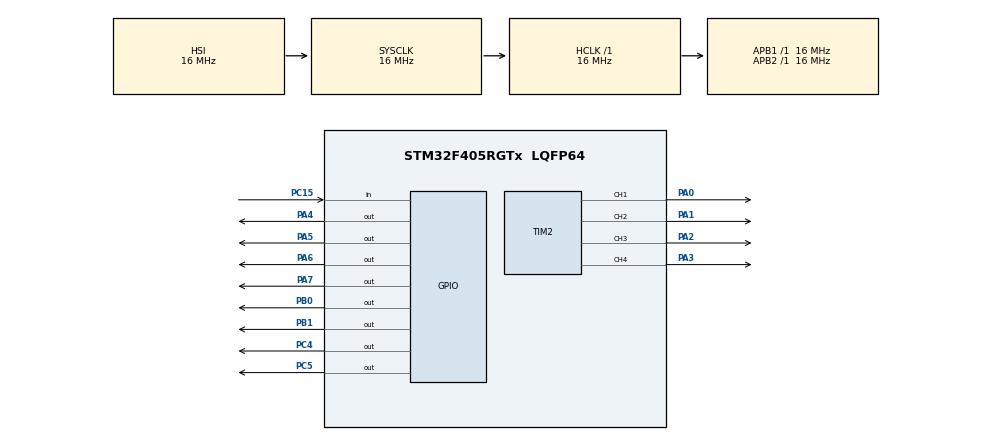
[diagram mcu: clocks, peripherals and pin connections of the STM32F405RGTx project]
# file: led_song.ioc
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Mcu.Family=STM32F4
Mcu.Name=STM32F405RGTx
Mcu.Package=LQFP64
NVIC.PriorityGroup=NVIC_PRIORITYGROUP_4
PA0-WKUP.Signal=S_TIM2_CH1_ETR
PA1.Signal=S_TIM2_CH2
PA2.Signal=S_TIM2_CH3
PA3.Signal=S_TIM2_CH4
PA4.Signal=GPIO_Output
PA5.Signal=GPIO_Output
PA6.Signal=GPIO_Output
PA7.Signal=GPIO_Output
PB0.Signal=GPIO_Output
PB1.Signal=GPIO_Output
PC15-OSC32_OUT.Signal=GPIO_Input
PC4.Signal=GPIO_Output
PC5.Signal=GPIO_Output
ProjectManager.HeapSize=0x200
ProjectManager.StackSize=0x400
ProjectManager.TargetToolchain=STM32CubeIDE
RCC.AHBFreq_Value=16000000
RCC.APB1Freq_Value=16000000
RCC.APB2Freq_Value=16000000
RCC.CortexFreq_Value=16000000
RCC.HSE_VALUE=25000000
RCC.HSI_VALUE=16000000
RCC.LSE_VALUE=32768
RCC.SYSCLKFreq_VALUE=16000000
RCC.VCOOutputFreq_Value=192000000
SH.S_TIM2_CH1_ETR.0=TIM2_CH1,PWM Generation1 CH1
SH.S_TIM2_CH2.0=TIM2_CH2,PWM Generation2 CH2
SH.S_TIM2_CH3.0=TIM2_CH3,PWM Generation3 CH3
SH.S_TIM2_CH4.0=TIM2_CH4,PWM Generation4 CH4
TIM2.Channel-PWM\ Generation1\ CH1=TIM_CHANNEL_1
TIM2.Channel-PWM\ Generation2\ CH2=TIM_CHANNEL_2
TIM2.Channel-PWM\ Generation3\ CH3=TIM_CHANNEL_3
TIM2.Channel-PWM\ Generation4\ CH4=TIM_CHANNEL_4
board=custom

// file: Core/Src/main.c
/* USER CODE BEGIN Header */
/**
  ******************************************************************************
  * @file           : main.c
  * @brief          : Code Final - Fix lỗi động cơ không quay + Nút bấm Pull-down
  ******************************************************************************
  */
/* USER CODE END Header */
#include "main.h"

/* USER CODE BEGIN PTD */
typedef struct {
    GPIO_TypeDef* Port;
    uint16_t Pin;
} Led_TypeDef;
/* USER CODE END PTD */

TIM_HandleTypeDef htim2;

/* USER CODE BEGIN PV */
Led_TypeDef leds[8] = {
    {GPIOA, GPIO_PIN_4}, {GPIOA, GPIO_PIN_5}, {GPIOA, GPIO_PIN_6}, {GPIOA, GPIO_PIN_7},
    {GPIOC, GPIO_PIN_4}, {GPIOC, GPIO_PIN_5}, {GPIOB, GPIO_PIN_0}, {GPIOB, GPIO_PIN_1}
};

int current_mode = 1;
uint8_t btn_prev = 0; // Logic Pull-down: Ban đầu mức 0

void Clear_All_Leds() {
    for(int i=0; i<8; i++) HAL_GPIO_WritePin(leds[i].Port, leds[i].Pin, GPIO_PIN_RESET);
}

// Logic nút bấm cho mạch Pull-down (Nhấn nối VCC)
int Check_Change_Mode(void) {
    uint8_t btn_now = HAL_GPIO_ReadPin(GPIOC, GPIO_PIN_15);

    // Phát hiện sườn lên (0 -> 1)
    if (btn_now == 1 && btn_prev == 0) {
        HAL_Delay(50); // Chống rung
        if (HAL_GPIO_ReadPin(GPIOC, GPIO_PIN_15) == 1) {
            current_mode++;
            if (current_mode > 3) current_mode = 1;

            // Reset trạng thái
            Clear_All_Leds();
            __HAL_TIM_SET_COMPARE(&htim2, TIM_CHANNEL_1, 0);
            __HAL_TIM_SET_COMPARE(&htim2, TIM_CHANNEL_2, 0);
            __HAL_TIM_SET_COMPARE(&htim2, TIM_CHANNEL_3, 0);
            __HAL_TIM_SET_COMPARE(&htim2, TIM_CHANNEL_4, 0);

            btn_prev = 1;
            return 1;
        }
    }
    if (btn_now == 0) btn_prev = 0;
    return 0;
}
/* USER CODE END PV */

void SystemClock_Config(void);
static void MX_GPIO_Init(void);
static void MX_TIM2_Init(void);

int main(void)
{

  /* MCU Configuration--------------------------------------------------------*/

  /* Reset of all peripherals, Initializes the Flash interface and the Systick. */
  HAL_Init();

  /* Configure the system clock */
  SystemClock_Config();

  /* Initialize all configured peripherals */
  MX_GPIO_Init();
  MX_TIM2_Init();
  /* USER CODE BEGIN 2 */

  // Bắt đầu PWM
  HAL_TIM_PWM_Start(&htim2, TIM_CHANNEL_1);
  HAL_TIM_PWM_Start(&htim2, TIM_CHANNEL_2);
  HAL_TIM_PWM_Start(&htim2, TIM_CHANNEL_3);
  HAL_TIM_PWM_Start(&htim2, TIM_CHANNEL_4);

  /* USER CODE END 2 */

  /* Infinite loop */
  while (1)
  {

    /* USER CODE BEGIN 3 */
      Check_Change_Mode();

      // --- MODE 1: LED LƯỢN SÓNG ---
      if (current_mode == 1) {
          for (int i = 0; i < 8; i++) {
              if(Check_Change_Mode()) break;
              HAL_GPIO_WritePin(leds[i].Port, leds[i].Pin, GPIO_PIN_SET);
              HAL_Delay(100);
              HAL_GPIO_WritePin(leds[i].Port, leds[i].Pin, GPIO_PIN_RESET);
          }
          for (int i = 6; i > 0; i--) {
              if(Check_Change_Mode()) break;
              HAL_GPIO_WritePin(leds[i].Port, leds[i].Pin, GPIO_PIN_SET);
              HAL_Delay(100);
              HAL_GPIO_WritePin(leds[i].Port, leds[i].Pin, GPIO_PIN_RESET);
          }
      }

      // --- MODE 2: LED NHÁY SO LE ---
      else if (current_mode == 2) {
          for(int i=0; i<8; i++) {
              if(i % 2 == 0) HAL_GPIO_WritePin(leds[i].Port, leds[i].Pin, GPIO_PIN_SET);
              else           HAL_GPIO_WritePin(leds[i].Port, leds[i].Pin, GPIO_PIN_RESET);
          }
          for(int d=0; d<50; d++) { HAL_Delay(10); if(Check_Change_Mode()) break; }

          if(current_mode != 2) continue;

          for(int i=0; i<8; i++) {
              if(i % 2 != 0) HAL_GPIO_WritePin(leds[i].Port, leds[i].Pin, GPIO_PIN_SET);
              else           HAL_GPIO_WritePin(leds[i].Port, leds[i].Pin, GPIO_PIN_RESET);
          }
          for(int d=0; d<50; d++) { HAL_Delay(10); if(Check_Change_Mode()) break; }
      }

      // --- MODE 3: ĐỘNG CƠ CHẠY THẲNG ---
      else if (current_mode == 3) {
          Clear_All_Leds();
          int speed = 800; // Duty Cycle ~80%

          // Động cơ 1: IN1 PWM, IN2 = 0 -> Quay thuận trái
          __HAL_TIM_SET_COMPARE(&htim2, TIM_CHANNEL_1, speed);
          __HAL_TIM_SET_COMPARE(&htim2, TIM_CHANNEL_2, 0);

          // Động cơ 2: IN3 PWM, IN4 = 0 -> Quay thuận
          __HAL_TIM_SET_COMPARE(&htim2, TIM_CHANNEL_3, 0);
          __HAL_TIM_SET_COMPARE(&htim2, TIM_CHANNEL_4, speed);

          HAL_Delay(100);
      }
    /* USER CODE END 3 */
  }
}

void SystemClock_Config(void)
{
  RCC_OscInitTypeDef RCC_OscInitStruct = {0};
  RCC_ClkInitTypeDef RCC_ClkInitStruct = {0};

  __HAL_RCC_PWR_CLK_ENABLE();
  __HAL_PWR_VOLTAGESCALING_CONFIG(PWR_REGULATOR_VOLTAGE_SCALE1);

  RCC_OscInitStruct.OscillatorType = RCC_OSCILLATORTYPE_HSI;
  RCC_OscInitStruct.HSIState = RCC_HSI_ON;
  RCC_OscInitStruct.HSICalibrationValue = RCC_HSICALIBRATION_DEFAULT;
  RCC_OscInitStruct.PLL.PLLState = RCC_PLL_NONE;
  if (HAL_RCC_OscConfig(&RCC_OscInitStruct) != HAL_OK)
  {
    Error_Handler();
  }

  RCC_ClkInitStruct.ClockType = RCC_CLOCKTYPE_HCLK|RCC_CLOCKTYPE_SYSCLK
                              |RCC_CLOCKTYPE_PCLK1|RCC_CLOCKTYPE_PCLK2;
  RCC_ClkInitStruct.SYSCLKSource = RCC_SYSCLKSOURCE_HSI;
  RCC_ClkInitStruct.AHBCLKDivider = RCC_SYSCLK_DIV1;
  RCC_ClkInitStruct.APB1CLKDivider = RCC_HCLK_DIV1;
  RCC_ClkInitStruct.APB2CLKDivider = RCC_HCLK_DIV1;

  if (HAL_RCC_ClockConfig(&RCC_ClkInitStruct, FLASH_LATENCY_0) != HAL_OK)
  {
    Error_Handler();
  }
}

static void MX_TIM2_Init(void)
{
  TIM_MasterConfigTypeDef sMasterConfig = {0};
  TIM_OC_InitTypeDef sConfigOC = {0};
  GPIO_InitTypeDef GPIO_InitStruct = {0}; // <--- Thêm khai báo GPIO

  htim2.Instance = TIM2;
  htim2.Init.Prescaler = 15;
  htim2.Init.CounterMode = TIM_COUNTERMODE_UP;
  htim2.Init.Period = 999;
  htim2.Init.ClockDivision = TIM_CLOCKDIVISION_DIV1;
  htim2.Init.AutoReloadPreload = TIM_AUTORELOAD_PRELOAD_ENABLE;
  if (HAL_TIM_PWM_Init(&htim2) != HAL_OK)
  {
    Error_Handler();
  }
  sMasterConfig.MasterOutputTrigger = TIM_TRGO_RESET;
  sMasterConfig.MasterSlaveMode = TIM_MASTERSLAVEMODE_DISABLE;
  if (HAL_TIMEx_MasterConfigSynchronization(&htim2, &sMasterConfig) != HAL_OK)
  {
    Error_Handler();
  }

  sConfigOC.OCMode = TIM_OCMODE_PWM1;
  sConfigOC.Pulse = 0;
  sConfigOC.OCPolarity = TIM_OCPOLARITY_HIGH;
  sConfigOC.OCFastMode = TIM_OCFAST_DISABLE;

  if (HAL_TIM_PWM_ConfigChannel(&htim2, &sConfigOC, TIM_CHANNEL_1) != HAL_OK) Error_Handler();
  if (HAL_TIM_PWM_ConfigChannel(&htim2, &sConfigOC, TIM_CHANNEL_2) != HAL_OK) Error_Handler();
  if (HAL_TIM_PWM_ConfigChannel(&htim2, &sConfigOC, TIM_CHANNEL_3) != HAL_OK) Error_Handler();
  if (HAL_TIM_PWM_ConfigChannel(&htim2, &sConfigOC, TIM_CHANNEL_4) != HAL_OK) Error_Handler();

  // --- [QUAN TRỌNG] CẤU HÌNH CHÂN PWM THỦ CÔNG TẠI ĐÂY ĐỂ TRÁNH LỖI MẤT KẾT NỐI ---
  __HAL_RCC_GPIOA_CLK_ENABLE();
  /**TIM2 GPIO Configuration
  PA0     ------> TIM2_CH1
  PA1     ------> TIM2_CH2
  PA2     ------> TIM2_CH3
  PA3     ------> TIM2_CH4
  */
  GPIO_InitStruct.Pin = GPIO_PIN_0|GPIO_PIN_1|GPIO_PIN_2|GPIO_PIN_3;
  GPIO_InitStruct.Mode = GPIO_MODE_AF_PP; // Chế độ Alternate Function
  GPIO_InitStruct.Pull = GPIO_NOPULL;
  GPIO_InitStruct.Speed = GPIO_SPEED_FREQ_LOW;
  GPIO_InitStruct.Alternate = GPIO_AF1_TIM2; // Gán chức năng Timer 2
  HAL_GPIO_Init(GPIOA, &GPIO_InitStruct);
  // --------------------------------------------------------------------------------
}

static void MX_GPIO_Init(void)
{
  GPIO_InitTypeDef GPIO_InitStruct = {0};

  __HAL_RCC_GPIOC_CLK_ENABLE();
  __HAL_RCC_GPIOA_CLK_ENABLE();
  __HAL_RCC_GPIOB_CLK_ENABLE();

  HAL_GPIO_WritePin(GPIOA, GPIO_PIN_4|GPIO_PIN_5|GPIO_PIN_6|GPIO_PIN_7, GPIO_PIN_RESET);
  HAL_GPIO_WritePin(GPIOC, GPIO_PIN_4|GPIO_PIN_5, GPIO_PIN_RESET);
  HAL_GPIO_WritePin(GPIOB, GPIO_PIN_0|GPIO_PIN_1, GPIO_PIN_RESET);

  // Nút bấm Pull-down
  GPIO_InitStruct.Pin = GPIO_PIN_15;
  GPIO_InitStruct.Mode = GPIO_MODE_INPUT;
  GPIO_InitStruct.Pull = GPIO_PULLDOWN;
  HAL_GPIO_Init(GPIOC, &GPIO_InitStruct);

  // Các chân LED
  GPIO_InitStruct.Pin = GPIO_PIN_4|GPIO_PIN_5|GPIO_PIN_6|GPIO_PIN_7;
  GPIO_InitStruct.Mode = GPIO_MODE_OUTPUT_PP;
  GPIO_InitStruct.Pull = GPIO_NOPULL;
  GPIO_InitStruct.Speed = GPIO_SPEED_FREQ_LOW;
  HAL_GPIO_Init(GPIOA, &GPIO_InitStruct);

  GPIO_InitStruct.Pin = GPIO_PIN_4|GPIO_PIN_5;
  GPIO_InitStruct.Mode = GPIO_MODE_OUTPUT_PP;
  GPIO_InitStruct.Pull = GPIO_NOPULL;
  GPIO_InitStruct.Speed = GPIO_SPEED_FREQ_LOW;
  HAL_GPIO_Init(GPIOC, &GPIO_InitStruct);

  GPIO_InitStruct.Pin = GPIO_PIN_0|GPIO_PIN_1;
  GPIO_InitStruct.Mode = GPIO_MODE_OUTPUT_PP;
  GPIO_InitStruct.Pull = GPIO_NOPULL;
  GPIO_InitStruct.Speed = GPIO_SPEED_FREQ_LOW;
  HAL_GPIO_Init(GPIOB, &GPIO_InitStruct);
}

void Error_Handler(void)
{
  __disable_irq();
  while (1)
  {
  }
}
